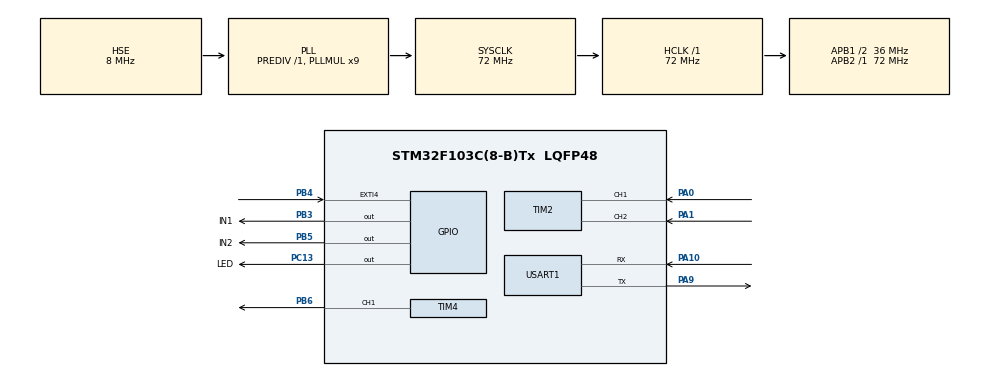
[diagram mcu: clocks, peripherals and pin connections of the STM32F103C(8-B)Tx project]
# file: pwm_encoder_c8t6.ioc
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FREERTOS.Tasks01=defaultTask,0,128,StartDefaultTask,Default,NULL,Dynamic,NULL,NULL;myTask02,0,128,StartTask02,Default,NULL,Dynamic,NULL,NULL
Mcu.Family=STM32F1
Mcu.Name=STM32F103C(8-B)Tx
Mcu.Package=LQFP48
NVIC.PriorityGroup=NVIC_PRIORITYGROUP_4
NVIC.TIM1_UP_IRQn=true\:15\:0\:false\:false\:true\:false\:false\:true\:true
NVIC.TimeBase=TIM1_UP_IRQn
NVIC.TimeBaseIP=TIM1
NVIC.USART1_IRQn=true\:5\:0\:false\:false\:true\:true\:true\:true\:true
PA0-WKUP.Signal=S_TIM2_CH1_ETR
PA1.Signal=S_TIM2_CH2
PA10.Mode=Asynchronous
PA10.Signal=USART1_RX
PA13.Mode=Serial_Wire
PA13.Signal=SYS_JTMS-SWDIO
PA14.Mode=Serial_Wire
PA14.Signal=SYS_JTCK-SWCLK
PA9.Mode=Asynchronous
PA9.Signal=USART1_TX
PB3.GPIO_Label=IN1
PB3.Signal=GPIO_Output
PB4.GPIO_PuPd=GPIO_PULLUP
PB4.Signal=GPXTI4
PB5.GPIO_Label=IN2
PB5.Signal=GPIO_Output
PB6.Signal=S_TIM4_CH1
PC13-TAMPER-RTC.GPIO_Label=LED
PC13-TAMPER-RTC.Signal=GPIO_Output
PC14-OSC32_IN.Mode=LSE-External-Clock-Source
PC14-OSC32_IN.Signal=RCC_OSC32_IN
PC15-OSC32_OUT.Mode=LSE-External-Clock-Source
PC15-OSC32_OUT.Signal=RCC_OSC32_OUT
PD0-OSC_IN.Mode=HSE-External-Oscillator
PD0-OSC_IN.Signal=RCC_OSC_IN
PD1-OSC_OUT.Mode=HSE-External-Oscillator
PD1-OSC_OUT.Signal=RCC_OSC_OUT
ProjectManager.HeapSize=0x200
ProjectManager.StackSize=0x400
ProjectManager.TargetToolchain=MDK-ARM V5.32
RCC.AHBFreq_Value=72000000
RCC.APB1CLKDivider=RCC_HCLK_DIV2
RCC.APB1Freq_Value=36000000
RCC.APB1TimFreq_Value=72000000
RCC.APB2Freq_Value=72000000
RCC.APB2TimFreq_Value=72000000
RCC.HCLKFreq_Value=72000000
RCC.PLLMUL=RCC_PLL_MUL9
RCC.PLLSourceVirtual=RCC_PLLSOURCE_HSE
RCC.SYSCLKFreq_VALUE=72000000
RCC.SYSCLKSource=RCC_SYSCLKSOURCE_PLLCLK
RCC.USBFreq_Value=72000000
SH.S_TIM2_CH1_ETR.0=TIM2_CH1,Encoder_Interface
SH.S_TIM2_CH2.0=TIM2_CH2,Encoder_Interface
SH.S_TIM4_CH1.0=TIM4_CH1,PWM Generation1 CH1
TIM4.Channel-PWM\ Generation1\ CH1=TIM_CHANNEL_1
TIM4.Period=999
TIM4.Prescaler=0
USART1.VirtualMode=VM_ASYNC
VP_FREERTOS_VS_CMSIS_V1.Mode=CMSIS_V1
VP_SYS_VS_tim1.Mode=TIM1
board=custom

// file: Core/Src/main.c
/* USER CODE BEGIN Header */
/**
  ******************************************************************************
  * @file           : main.c
  * @brief          : Main program body
  ******************************************************************************
  * @attention
  *
  * Copyright (c) 2025 STMicroelectronics.
  * All rights reserved.
  *
  * This software is licensed under terms that can be found in the LICENSE file
  * in the root directory of this software component.
  * If no LICENSE file comes with this software, it is provided AS-IS.
  *
  ******************************************************************************
  *使用f103c8t6通过tb6612fng驱动电机，配合编码器实现速度控制
  *接线：
  *  TB6612:
  *  IN1  -> PB3
  *  IN2  -> PB5
  *  PWMA -> PB6
  *  STBY -> 5V
  *  VM   -> 12V
  *  VCC  -> 5V
  *  AO1 -> 电机A
  *  AO2 -> 电机B
  *
  * 编码器A：
  *  CHA -> PA0
  *  CHB -> PA1
  *
  * 按键：-> PB7
  */
/* USER CODE END Header */
#include "main.h"
#include "cmsis_os.h"
#include "tim.h"
#include "usart.h"
#include "gpio.h"

/* USER CODE BEGIN Includes */
//#include "retarget.h"
/* USER CODE END Includes */

void SystemClock_Config(void);
void MX_FREERTOS_Init(void);

int main(void)
{

  /* MCU Configuration--------------------------------------------------------*/

  /* Reset of all peripherals, Initializes the Flash interface and the Systick. */
  HAL_Init();

  /* Configure the system clock */
  SystemClock_Config();

  /* Initialize all configured peripherals */
  MX_GPIO_Init();
  MX_TIM2_Init();
  MX_TIM4_Init();
  MX_USART1_UART_Init();
  /* USER CODE BEGIN 2 */
  //RetargetInit(&huart1);

  /* USER CODE END 2 */

  /* Call init function for freertos objects (in cmsis_os2.c) */
  MX_FREERTOS_Init();

  /* Start scheduler */
  osKernelStart();

  /* We should never get here as control is now taken by the scheduler */

  /* Infinite loop */
  while (1)
  {

    /* USER CODE BEGIN 3 */
		HAL_GPIO_TogglePin(LED_GPIO_Port,LED_Pin);
		HAL_Delay(1000);
    // HAL_GPIO_WritePin(IN1_GPIO_Port, IN1_Pin, GPIO_PIN_RESET);
    // HAL_GPIO_WritePin(IN2_GPIO_Port, IN2_Pin, GPIO_PIN_SET);
    // __HAL_TIM_SET_COMPARE(htb1.htim, htb1.channel, 500);

  }
  /* USER CODE END 3 */
}

void SystemClock_Config(void)
{
  RCC_OscInitTypeDef RCC_OscInitStruct = {0};
  RCC_ClkInitTypeDef RCC_ClkInitStruct = {0};

  /** Initializes the RCC Oscillators according to the specified parameters
  * in the RCC_OscInitTypeDef structure.
  */
  RCC_OscInitStruct.OscillatorType = RCC_OSCILLATORTYPE_HSE;
  RCC_OscInitStruct.HSEState = RCC_HSE_ON;
  RCC_OscInitStruct.HSEPredivValue = RCC_HSE_PREDIV_DIV1;
  RCC_OscInitStruct.HSIState = RCC_HSI_ON;
  RCC_OscInitStruct.PLL.PLLState = RCC_PLL_ON;
  RCC_OscInitStruct.PLL.PLLSource = RCC_PLLSOURCE_HSE;
  RCC_OscInitStruct.PLL.PLLMUL = RCC_PLL_MUL9;
  if (HAL_RCC_OscConfig(&RCC_OscInitStruct) != HAL_OK)
  {
    Error_Handler();
  }

  /** Initializes the CPU, AHB and APB buses clocks
  */
  RCC_ClkInitStruct.ClockType = RCC_CLOCKTYPE_HCLK|RCC_CLOCKTYPE_SYSCLK
                              |RCC_CLOCKTYPE_PCLK1|RCC_CLOCKTYPE_PCLK2;
  RCC_ClkInitStruct.SYSCLKSource = RCC_SYSCLKSOURCE_PLLCLK;
  RCC_ClkInitStruct.AHBCLKDivider = RCC_SYSCLK_DIV1;
  RCC_ClkInitStruct.APB1CLKDivider = RCC_HCLK_DIV2;
  RCC_ClkInitStruct.APB2CLKDivider = RCC_HCLK_DIV1;

  if (HAL_RCC_ClockConfig(&RCC_ClkInitStruct, FLASH_LATENCY_2) != HAL_OK)
  {
    Error_Handler();
  }
}

void HAL_TIM_PeriodElapsedCallback(TIM_HandleTypeDef *htim)
{
  if (htim->Instance == TIM1)
  {
    HAL_IncTick();
  }
}

void Error_Handler(void)
{
  __disable_irq();
  while (1)
  {
  }
}

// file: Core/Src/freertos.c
/* USER CODE BEGIN Header */
/**
  ******************************************************************************
  * File Name          : freertos.c
  * Description        : Code for freertos applications
  ******************************************************************************
  * @attention
  *
  * Copyright (c) 2025 STMicroelectronics.
  * All rights reserved.
  *
  * This software is licensed under terms that can be found in the LICENSE file
  * in the root directory of this software component.
  * If no LICENSE file comes with this software, it is provided AS-IS.
  *
  ******************************************************************************
  */
/* USER CODE END Header */

#include "FreeRTOS.h"
#include "task.h"
#include "main.h"
#include "cmsis_os.h"

/* USER CODE BEGIN Includes */
#include <stdio.h>
#include "tim_encoder.h"
#include "pwm_motor.h"
#include "pid.h"

/* USER CODE END Includes */

/* USER CODE BEGIN Variables */
TIMEncoder encoder1;
PWMMotor motor1;
TB6612_t htb1 = {
  .in1_port=IN1_GPIO_Port,
  .in1_pin=IN1_Pin,
  .in2_port=IN2_GPIO_Port,
  .in2_pin=IN2_Pin,
  .htim = &htim4,
  .channel=TIM_CHANNEL_1,
};
PID_TypeDef pos_pid;
PID_TypeDef vel_pid;
const double ppi=0.03/3000000;
double target_pos;
/* USER CODE END Variables */
osThreadId defaultTaskHandle;
osThreadId myTask02Handle;

void StartDefaultTask(void const * argument);
void StartTask02(void const * argument);

void MX_FREERTOS_Init(void); /* (MISRA C 2004 rule 8.1) */

/* GetIdleTaskMemory prototype (linked to static allocation support) */
void vApplicationGetIdleTaskMemory( StaticTask_t **ppxIdleTaskTCBBuffer, StackType_t **ppxIdleTaskStackBuffer, uint32_t *pulIdleTaskStackSize );

/* USER CODE BEGIN GET_IDLE_TASK_MEMORY */
static StaticTask_t xIdleTaskTCBBuffer;
static StackType_t xIdleStack[configMINIMAL_STACK_SIZE];

void vApplicationGetIdleTaskMemory( StaticTask_t **ppxIdleTaskTCBBuffer, StackType_t **ppxIdleTaskStackBuffer, uint32_t *pulIdleTaskStackSize )
{
  *ppxIdleTaskTCBBuffer = &xIdleTaskTCBBuffer;
  *ppxIdleTaskStackBuffer = &xIdleStack[0];
  *pulIdleTaskStackSize = configMINIMAL_STACK_SIZE;
  /* place for user code */
}
/* USER CODE END GET_IDLE_TASK_MEMORY */

void MX_FREERTOS_Init(void) {

  /* Create the thread(s) */
  /* definition and creation of defaultTask */
  osThreadDef(defaultTask, StartDefaultTask, osPriorityNormal, 0, 128);
  defaultTaskHandle = osThreadCreate(osThread(defaultTask), NULL);

  /* definition and creation of myTask02 */
  osThreadDef(myTask02, StartTask02, osPriorityNormal, 0, 128);
  myTask02Handle = osThreadCreate(osThread(myTask02), NULL);

}

void StartDefaultTask(void const * argument)
{
  /* USER CODE BEGIN StartDefaultTask */
  target_pos=0.01/ppi;
  TIMEncoder_ctor(&encoder1, &htim2, 256,10,E_BACKWARD);
  PWMMotor_ctor(&motor1, &htb1, M_FORWARD);
  PID_Init(&pos_pid, 0.2, 0.00, 0.0);
  PID_Init(&vel_pid, 0.2, 0.0, 0.0);
	PID_Set_output_limit(&vel_pid,-1000,1000);
  Encoder_init((Encoder*)&encoder1);
  Motor_init((Motor*)&motor1);
  HAL_TIM_PWM_Start(&htim4, TIM_CHANNEL_1);
  uint32_t last_tick = osKernelSysTick();

  /* Infinite loop */
  for(;;)
  {
    Encoder_update((Encoder*)&encoder1);
    PID_update(&pos_pid,target_pos,(double)encoder1.base.position);
    PID_update(&vel_pid,pos_pid.output,encoder1.base.speed);
    Motor_setSpeed((Motor*)&motor1, (int32_t)vel_pid.output);
		//Motor_setSpeed((Motor*)&motor1, 1000);
    osDelayUntil(&last_tick,10);

  }
  /* USER CODE END StartDefaultTask */
}

void StartTask02(void const * argument)
{
  /* USER CODE BEGIN StartTask02 */
  /* Infinite loop */
  for(;;)
  {
    osDelay(1000);
    HAL_GPIO_TogglePin(LED_GPIO_Port,LED_Pin);
		//target_pos=-target_pos;
  }
  /* USER CODE END StartTask02 */
}
